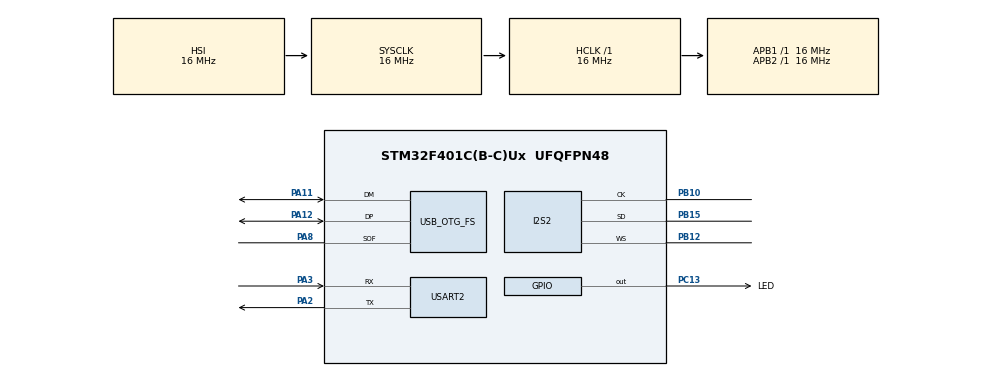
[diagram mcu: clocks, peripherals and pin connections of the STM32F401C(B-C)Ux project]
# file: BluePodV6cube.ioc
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Dma.Request0=SPI2_RX
Dma.SPI2_RX.0.Direction=DMA_PERIPH_TO_MEMORY
Dma.SPI2_RX.0.FIFOMode=DMA_FIFOMODE_DISABLE
Dma.SPI2_RX.0.Instance=DMA1_Stream3
Dma.SPI2_RX.0.MemDataAlignment=DMA_MDATAALIGN_HALFWORD
Dma.SPI2_RX.0.MemInc=DMA_MINC_ENABLE
Dma.SPI2_RX.0.Mode=DMA_CIRCULAR
Dma.SPI2_RX.0.PeriphDataAlignment=DMA_PDATAALIGN_HALFWORD
Dma.SPI2_RX.0.PeriphInc=DMA_PINC_DISABLE
Dma.SPI2_RX.0.Priority=DMA_PRIORITY_LOW
FREERTOS.Tasks01=defaultTask,24,128,StartDefaultTask,Default,NULL,Dynamic,NULL,NULL
FREERTOS.configUSE_NEWLIB_REENTRANT=1
I2S2.AudioFreq=I2S_AUDIOFREQ_48K
I2S2.ErrorAudioFreq=-1.35 %
I2S2.FullDuplexMode=I2S_FULLDUPLEXMODE_DISABLE
I2S2.Instance=SPI$Index
I2S2.Mode=I2S_MODE_SLAVE_RX
I2S2.RealAudioFreq=47.348 KHz
I2S2.VirtualMode=I2S_MODE_SLAVE
Mcu.Family=STM32F4
Mcu.Name=STM32F401C(B-C)Ux
Mcu.Package=UFQFPN48
NVIC.DMA1_Stream3_IRQn=true\:5\:0\:false\:false\:true\:true\:false\:true\:true
NVIC.OTG_FS_IRQn=true\:5\:0\:false\:false\:true\:true\:false\:true\:true
NVIC.PriorityGroup=NVIC_PRIORITYGROUP_4
NVIC.TIM1_UP_TIM10_IRQn=true\:15\:0\:false\:false\:true\:false\:false\:true\:true
NVIC.TimeBase=TIM1_UP_TIM10_IRQn
NVIC.TimeBaseIP=TIM1
PA11.Mode=Device_Only
PA11.Signal=USB_OTG_FS_DM
PA12.Mode=Device_Only
PA12.Signal=USB_OTG_FS_DP
PA13.Mode=Trace_Asynchronous_SW
PA13.Signal=SYS_JTMS-SWDIO
PA14.Mode=Trace_Asynchronous_SW
PA14.Signal=SYS_JTCK-SWCLK
PA2.Mode=Asynchronous
PA2.Signal=USART2_TX
PA3.Mode=Asynchronous
PA3.Signal=USART2_RX
PA8.Mode=Activate_SOF_FS
PA8.Signal=USB_OTG_FS_SOF
PB10.Mode=Half_Duplex_Slave
PB10.Signal=I2S2_CK
PB12.Mode=Half_Duplex_Slave
PB12.Signal=I2S2_WS
PB15.Mode=Half_Duplex_Slave
PB15.Signal=I2S2_SD
PB3.Mode=Trace_Asynchronous_SW
PB3.Signal=SYS_JTDO-SWO
PC13-ANTI_TAMP.GPIO_Label=LED
PC13-ANTI_TAMP.Signal=GPIO_Output
PH0\ -\ OSC_IN.Mode=HSE-External-Oscillator
PH0\ -\ OSC_IN.Signal=RCC_OSC_IN
PH1\ -\ OSC_OUT.Mode=HSE-External-Oscillator
PH1\ -\ OSC_OUT.Signal=RCC_OSC_OUT
ProjectManager.HeapSize=0x200
ProjectManager.StackSize=0x400
ProjectManager.TargetToolchain=STM32CubeIDE
RCC.48MHZClocksFreq_Value=48000000
RCC.AHBFreq_Value=16000000
RCC.APB1Freq_Value=16000000
RCC.APB2Freq_Value=16000000
RCC.CortexFreq_Value=16000000
RCC.HSE_VALUE=25000000
RCC.HSI_VALUE=16000000
RCC.LSE_VALUE=32768
RCC.PLLI2SN=60
RCC.PLLM=15
RCC.PLLN=144
RCC.PLLQ=5
RCC.SYSCLKFreq_VALUE=16000000
RCC.VCOOutputFreq_Value=240000000
USART2.VirtualMode=VM_ASYNC
USB_DEVICE.CLASS_NAME_FS=AUDIO
USB_DEVICE.USBD_AUDIO_FREQ=48000
USB_DEVICE.USBD_MAX_NUM_CONFIGURATION=2
USB_DEVICE.USBD_MAX_NUM_INTERFACES=2
USB_DEVICE.VirtualMode=Audio
USB_DEVICE.VirtualModeFS=Audio_FS
USB_OTG_FS.VirtualMode=Device_Only
VP_FREERTOS_VS_CMSIS_V2.Mode=CMSIS_V2
VP_SYS_VS_tim1.Mode=TIM1
VP_USB_DEVICE_VS_USB_DEVICE_AUDIO_FS.Mode=AUDIO_FS
board=custom

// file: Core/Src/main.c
/* USER CODE BEGIN Header */
/**
 ******************************************************************************
 * @file           : main.c
 * @brief          : Main program body
 ******************************************************************************
 * @attention
 *
 * Copyright (c) 2024 STMicroelectronics.
 * All rights reserved.
 *
 * This software is licensed under terms that can be found in the LICENSE file
 * in the root directory of this software component.
 * If no LICENSE file comes with this software, it is provided AS-IS.
 *
 ******************************************************************************
 */
/* USER CODE END Header */
#include "main.h"
#include "cmsis_os.h"
#include "usb_device.h"

/* USER CODE BEGIN Includes */
#include "log.h"
#include "xprintf.h"

#include "audioBuf.h"
/* USER CODE END Includes */

I2S_HandleTypeDef hi2s2;
DMA_HandleTypeDef hdma_spi2_rx;

UART_HandleTypeDef huart2;

/* Definitions for defaultTask */
osThreadId_t defaultTaskHandle;
const osThreadAttr_t defaultTask_attributes = { .name = "defaultTask",
		.stack_size = 128 * 4, .priority = (osPriority_t) osPriorityNormal, };

void SystemClock_Config(void);
static void MX_GPIO_Init(void);
static void MX_DMA_Init(void);
static void MX_I2S2_Init(void);
static void MX_USART2_UART_Init(void);
void StartDefaultTask(void *argument);

/* USER CODE BEGIN 0 */

void HAL_I2S_RxHalfCpltCallback(I2S_HandleTypeDef *hi2s) {
	//do something
	//position where to star treading
	pInBuffPtr = &i2SDataBuffer[0];
	dataReady = 1;
	//HAL_GPIO_TogglePin(LED_GPIO_Port,  LED_Pin);
}

//void HAL_I2SEx_TxRxCpltCallback(I2S_HandleTypeDef *hi2s){
void HAL_I2S_RxCpltCallback(I2S_HandleTypeDef *hi2s) {
	//
	pInBuffPtr = &i2SDataBuffer[BUFFER_SIZE / 2];
	dataReady = 2;

}

/* USER CODE END 0 */

int main(void) {

	/* MCU Configuration--------------------------------------------------------*/

	/* Reset of all peripherals, Initializes the Flash interface and the Systick. */
	HAL_Init();

	/* USER CODE BEGIN Init */
	xdev_out(ITM_SendChar);
		  	xprintf("Starting up\n");
	/* USER CODE END Init */

	/* Configure the system clock */
	SystemClock_Config();

	/* Initialize all configured peripherals */
	MX_GPIO_Init();
	MX_DMA_Init();
	MX_I2S2_Init();
	MX_USART2_UART_Init();
	/* USER CODE BEGIN 2 */

	HAL_I2S_Receive_DMA(&hi2s2, (uint16_t*) pInBuffPtr, BUFFER_SIZE);

	DEBUG("Hardware INIT complete\n");

	/* USER CODE END 2 */

	/* Init scheduler */
	osKernelInitialize();

	/* Create the thread(s) */
	/* creation of defaultTask */
	defaultTaskHandle = osThreadNew(StartDefaultTask, NULL,
			&defaultTask_attributes);

	/* Start scheduler */
	osKernelStart();

	/* We should never get here as control is now taken by the scheduler */
	/* Infinite loop */
	while (1) {

	}
}

void SystemClock_Config(void) {
	RCC_OscInitTypeDef RCC_OscInitStruct = { 0 };
	RCC_ClkInitTypeDef RCC_ClkInitStruct = { 0 };

	/** Configure the main internal regulator output voltage
	 */
	__HAL_RCC_PWR_CLK_ENABLE();
	__HAL_PWR_VOLTAGESCALING_CONFIG(PWR_REGULATOR_VOLTAGE_SCALE2);

	/** Initializes the RCC Oscillators according to the specified parameters
	 * in the RCC_OscInitTypeDef structure.
	 */
	RCC_OscInitStruct.OscillatorType = RCC_OSCILLATORTYPE_HSI
			| RCC_OSCILLATORTYPE_HSE;
	RCC_OscInitStruct.HSEState = RCC_HSE_ON;
	RCC_OscInitStruct.HSIState = RCC_HSI_ON;
	RCC_OscInitStruct.HSICalibrationValue = RCC_HSICALIBRATION_DEFAULT;
	RCC_OscInitStruct.PLL.PLLState = RCC_PLL_ON;
	RCC_OscInitStruct.PLL.PLLSource = RCC_PLLSOURCE_HSE;
	RCC_OscInitStruct.PLL.PLLM = 15;
	RCC_OscInitStruct.PLL.PLLN = 144;
	RCC_OscInitStruct.PLL.PLLP = RCC_PLLP_DIV2;
	RCC_OscInitStruct.PLL.PLLQ = 5;
	if (HAL_RCC_OscConfig(&RCC_OscInitStruct) != HAL_OK) {
		Error_Handler();
	}

	/** Initializes the CPU, AHB and APB buses clocks
	 */
	RCC_ClkInitStruct.ClockType = RCC_CLOCKTYPE_HCLK | RCC_CLOCKTYPE_SYSCLK
			| RCC_CLOCKTYPE_PCLK1 | RCC_CLOCKTYPE_PCLK2;
	RCC_ClkInitStruct.SYSCLKSource = RCC_SYSCLKSOURCE_HSI;
	RCC_ClkInitStruct.AHBCLKDivider = RCC_SYSCLK_DIV1;
	RCC_ClkInitStruct.APB1CLKDivider = RCC_HCLK_DIV1;
	RCC_ClkInitStruct.APB2CLKDivider = RCC_HCLK_DIV1;

	if (HAL_RCC_ClockConfig(&RCC_ClkInitStruct, FLASH_LATENCY_0) != HAL_OK) {
		Error_Handler();
	}
}

static void MX_I2S2_Init(void) {

	hi2s2.Instance = SPI2;
	hi2s2.Init.Mode = I2S_MODE_SLAVE_RX;
	hi2s2.Init.Standard = I2S_STANDARD_PHILIPS;
	hi2s2.Init.DataFormat = I2S_DATAFORMAT_16B;
	hi2s2.Init.MCLKOutput = I2S_MCLKOUTPUT_DISABLE;
	hi2s2.Init.AudioFreq = I2S_AUDIOFREQ_48K;
	hi2s2.Init.CPOL = I2S_CPOL_LOW;
	hi2s2.Init.ClockSource = I2S_CLOCK_PLL;
	hi2s2.Init.FullDuplexMode = I2S_FULLDUPLEXMODE_DISABLE;
	if (HAL_I2S_Init(&hi2s2) != HAL_OK) {
		Error_Handler();
	}

}

static void MX_USART2_UART_Init(void) {

	huart2.Instance = USART2;
	huart2.Init.BaudRate = 115200;
	huart2.Init.WordLength = UART_WORDLENGTH_8B;
	huart2.Init.StopBits = UART_STOPBITS_1;
	huart2.Init.Parity = UART_PARITY_NONE;
	huart2.Init.Mode = UART_MODE_TX_RX;
	huart2.Init.HwFlowCtl = UART_HWCONTROL_NONE;
	huart2.Init.OverSampling = UART_OVERSAMPLING_16;
	if (HAL_UART_Init(&huart2) != HAL_OK) {
		Error_Handler();
	}

}

static void MX_DMA_Init(void) {

	/* DMA controller clock enable */
	__HAL_RCC_DMA1_CLK_ENABLE();

	/* DMA interrupt init */
	/* DMA1_Stream3_IRQn interrupt configuration */
	HAL_NVIC_SetPriority(DMA1_Stream3_IRQn, 5, 0);
	HAL_NVIC_EnableIRQ(DMA1_Stream3_IRQn);

}

static void MX_GPIO_Init(void) {
	GPIO_InitTypeDef GPIO_InitStruct = { 0 };

	/* GPIO Ports Clock Enable */
	__HAL_RCC_GPIOC_CLK_ENABLE();
	__HAL_RCC_GPIOH_CLK_ENABLE();
	__HAL_RCC_GPIOA_CLK_ENABLE();
	__HAL_RCC_GPIOB_CLK_ENABLE();

	/*Configure GPIO pin Output Level */
	HAL_GPIO_WritePin(LED_GPIO_Port, LED_Pin, GPIO_PIN_RESET);

	/*Configure GPIO pin : LED_Pin */
	GPIO_InitStruct.Pin = LED_Pin;
	GPIO_InitStruct.Mode = GPIO_MODE_OUTPUT_PP;
	GPIO_InitStruct.Pull = GPIO_NOPULL;
	GPIO_InitStruct.Speed = GPIO_SPEED_FREQ_LOW;
	HAL_GPIO_Init(LED_GPIO_Port, &GPIO_InitStruct);

}

void StartDefaultTask(void *argument) {
	/* init code for USB_DEVICE */
	MX_USB_DEVICE_Init();
	/* USER CODE BEGIN 5 */
	  LOG("StartDefault Task Started\n");

    const uint16_t fixedLen = BUFFER_SIZE / 2;

	/* Infinite loop */
	for (;;) {
		// osDelay(1);

		if (usbPkgSendFlag) {
			//delayed start of sending (triggered by SOF flag)
			if (pdevRef != 0) {
				for (int x = 0; x < 0xFFFF; x++) {
					for (int y = 0; y < 0x0F; y++) {
						asm("NOP");
					}
				}
				//osDelay(100);
				USBD_LL_FlushEP(pdevRef, 0x82U);
				USBD_LL_Transmit(pdevRef, 0x82U, NULL, 0);
				usbPkgSendFlag = 0;
				for (int x = 0; x < 0xFFFF; x++) {
							asm("NOP");
				}
			}
		}

		if (dataReady > 0) {
			uint8_t rFlag = dataReady;
			dataReady=0;
			if (pdevRef != 0) {
				USBD_AUDIO_HandleTypeDef *haudio;
				haudio =
						(USBD_AUDIO_HandleTypeDef*) pdevRef->pClassDataCmsit[pdevRef->classId];

				switch(rFlag){
				case 1:
					Buffer_AddToBuffer(haudio, (int16_t *) (&i2SDataBuffer[0]), fixedLen);
					break;
				case 2:
					Buffer_AddToBuffer(haudio, (int16_t *) (&i2SDataBuffer[fixedLen]),fixedLen);
					break;
				}

			}
		}

		osDelay(1);

	}
	/* USER CODE END 5 */
}

void HAL_TIM_PeriodElapsedCallback(TIM_HandleTypeDef *htim) {
	if (htim->Instance == TIM1) {
		HAL_IncTick();
	}
}

void Error_Handler(void) {
	__disable_irq();
	while (1) {
	}
}
